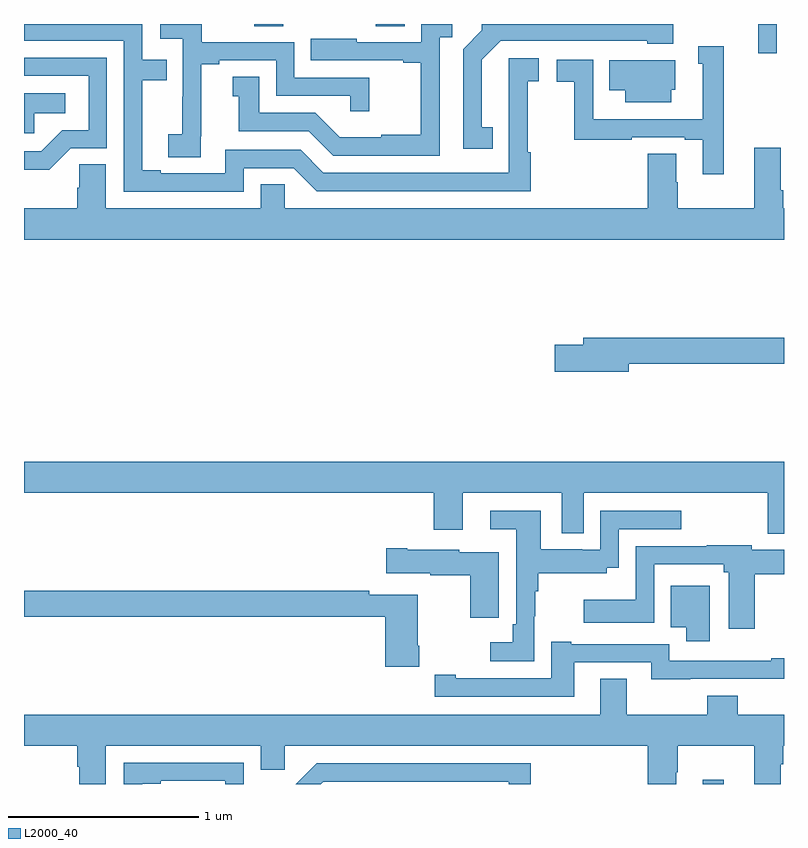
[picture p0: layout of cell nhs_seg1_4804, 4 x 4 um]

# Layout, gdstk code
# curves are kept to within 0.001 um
import gdstk
lib = gdstk.Library(unit=1e-6, precision=1e-09)
def R(c, l, rs):  # rectangles x0, y0, x1, y1
    for r in rs: c.add(gdstk.rectangle(r[:2], r[2:], *l))
def P(c, l, *ps):  # polygons
    for p in ps: c.add(gdstk.Polygon(p, *l))
L2000_40 = (2000, 40)

nhs_seg1_4804 = lib.new_cell('nhs_seg1_4804')
R(nhs_seg1_4804, L2000_40, [(374.573,550.199,374.683,550.222), (374.865,554.046,374.962,554.199), (372.212,554.188,372.365,554.199), (372.851,554.188,373.003,554.199)])
P(nhs_seg1_4804, L2000_40, [(371.93,553.609),(371.932,553.609),(371.932,553.987),(372.028,553.987),(372.028,554.007),(372.327,554.007),(372.327,553.821),(372.717,553.821),(372.717,553.74),(372.818,553.74),(372.818,553.917),(372.423,553.917),(372.423,554.103),(371.936,554.103),(371.936,554.199),(371.718,554.199),(371.718,554.121),(371.835,554.121),(371.835,553.817),(371.834,553.817),(371.834,553.62),(371.76,553.62),(371.76,553.498),(371.93,553.498)],
  [(373.466,553.655),(373.408,553.655),(373.408,554.011),(373.509,554.112),(374.28,554.112),(374.28,554.096),(374.416,554.096),(374.416,554.199),(373.41,554.199),(373.41,554.165),(373.311,554.066),(373.311,553.542),(373.466,553.542)],
  [(372.156,553.44),(372.42,553.44),(372.54,553.32),(373.667,553.32),(373.667,553.523),(373.65,553.523),(373.65,553.899),(373.708,553.899),(373.708,554.02),(373.55,554.02),(373.551,553.416),(372.576,553.416),(372.456,553.536),(372.06,553.536),(372.06,553.413),(371.719,553.413),(371.719,553.428),(371.623,553.428),(371.623,553.902),(371.75,553.902),(371.75,554.01),(371.622,554.01),(371.622,554.199),(371,554.199),(371,554.112),(371.526,554.112),(371.526,553.317),(372.156,553.317)],
  [(373.188,554.129),(373.253,554.129),(373.253,554.199),(373.092,554.199),(373.092,554.103),(372.751,554.103),(372.751,554.122),(372.508,554.122),(372.508,554.007),(372.995,554.007),(372.995,553.995),(373.087,553.995),(373.087,553.615),(372.881,553.615),(372.881,553.603),(372.662,553.603),(372.534,553.731),(372.238,553.731),(372.238,553.922),(372.098,553.922),(372.098,553.819),(372.131,553.819),(372.131,553.635),(372.498,553.635),(372.627,553.506),(373.188,553.506)],
  [(374.683,554.083),(374.549,554.083),(374.549,553.989),(374.573,553.989),(374.573,553.698),(373.996,553.698),(373.996,553.699),(373.995,553.699),(373.995,554.01),(373.803,554.01),(373.803,553.894),(373.897,553.894),(373.897,553.59),(374.198,553.59),(374.198,553.602),(374.477,553.602),(374.477,553.59),(374.573,553.59),(374.573,553.407),(374.683,553.407)],
  [(371.247,553.545),(371.436,553.545),(371.436,554.022),(371,554.022),(371,553.926),(371.34,553.926),(371.34,553.641),(371.202,553.641),(371.091,553.53),(371,553.53),(371,553.433),(371.134,553.433)],
  [(374.407,553.854),(374.428,553.854),(374.428,554.008),(374.08,554.008),(374.08,553.85),(374.165,553.85),(374.165,553.787),(374.407,553.787)],
  [(371.055,553.73),(371.218,553.73),(371.218,553.834),(371,553.834),(371,553.623),(371.055,553.623)],
  [(375,553.228),(374.996,553.228),(374.996,553.324),(374.983,553.324),(374.983,553.549),(374.843,553.549),(374.843,553.228),(374.442,553.228),(374.442,553.367),(374.434,553.367),(374.434,553.517),(374.282,553.517),(374.282,553.228),(372.372,553.228),(372.372,553.355),(372.245,553.355),(372.245,553.228),(371.431,553.228),(371.431,553.46),(371.292,553.46),(371.292,553.337),(371.279,553.337),(371.279,553.228),(371,553.228),(371,553.064),(375,553.064)],
  [(374.182,552.412),(375,552.412),(375,552.548),(373.943,552.548),(373.943,552.512),(373.794,552.512),(373.794,552.37),(374.182,552.37)],
  [(375,551.896),(371,551.896),(371,551.732),(373.157,551.732),(373.157,551.538),(373.309,551.538),(373.309,551.732),(373.829,551.732),(373.829,551.519),(373.945,551.519),(373.945,551.732),(374.914,551.732),(374.914,551.516),(375,551.516)],
  [(373.686,551.081),(373.691,551.081),(373.691,551.213),(373.706,551.213),(373.706,551.309),(374.067,551.309),(374.067,551.337),(374.13,551.337),(374.13,551.541),(374.458,551.541),(374.458,551.637),(374.034,551.637),(374.034,551.433),(373.937,551.433),(373.937,551.434),(373.72,551.434),(373.72,551.637),(373.455,551.637),(373.455,551.541),(373.59,551.541),(373.59,551.041),(373.572,551.041),(373.572,550.945),(373.455,550.945),(373.455,550.844),(373.686,550.844)],
  [(374.846,551.302),(375,551.302),(375,551.431),(374.829,551.431),(374.829,551.456),(374.594,551.456),(374.594,551.451),(374.22,551.451),(374.22,551.17),(373.947,551.17),(373.947,551.048),(374.316,551.048),(374.316,551.355),(374.683,551.355),(374.683,551.313),(374.708,551.313),(374.708,551.016),(374.846,551.016)],
  [(373.498,551.419),(373.29,551.419),(373.29,551.431),(373.018,551.431),(373.018,551.439),(372.906,551.439),(372.906,551.309),(373.138,551.309),(373.138,551.297),(373.349,551.297),(373.349,551.073),(373.498,551.073)],
  [(374.608,551.242),(374.405,551.242),(374.405,551.024),(374.486,551.024),(374.486,550.95),(374.608,550.95)],
  [(373.08,550.927),(373.072,550.927),(373.072,551.196),(372.818,551.196),(372.818,551.216),(371,551.216),(371,551.08),(372.902,551.08),(372.902,550.815),(373.08,550.815)],
  [(373.897,550.839),(374.301,550.839),(374.301,550.751),(374.507,550.751),(374.507,550.752),(375,550.752),(375,550.861),(374.933,550.861),(374.933,550.849),(374.704,550.849),(374.704,550.848),(374.397,550.848),(374.397,550.935),(373.879,550.935),(373.879,550.948),(373.775,550.948),(373.775,550.755),(373.273,550.755),(373.273,550.775),(373.161,550.775),(373.161,550.659),(373.897,550.659)],
  [(374.843,550.199),(374.983,550.199),(374.983,550.304),(374.996,550.304),(374.996,550.4),(375,550.4),(375,550.564),(374.756,550.564),(374.756,550.663),(374.596,550.663),(374.596,550.564),(374.173,550.564),(374.173,550.754),(374.033,550.754),(374.033,550.564),(371,550.564),(371,550.4),(371.279,550.4),(371.279,550.291),(371.292,550.291),(371.292,550.199),(371.431,550.199),(371.431,550.4),(372.245,550.4),(372.245,550.273),(372.372,550.273),(372.372,550.4),(374.282,550.4),(374.282,550.199),(374.434,550.199),(374.434,550.262),(374.442,550.262),(374.442,550.4),(374.843,550.4)],
  [(371.623,550.2),(371.719,550.2),(371.719,550.215),(372.06,550.215),(372.06,550.199),(372.156,550.199),(372.156,550.311),(371.526,550.311),(371.526,550.199),(371.623,550.199)],
  [(372.576,550.212),(373.551,550.212),(373.551,550.199),(373.667,550.199),(373.667,550.308),(372.54,550.308),(372.431,550.199),(372.563,550.199)])

lib.write_gds('nhs_seg1_4804.gds')
